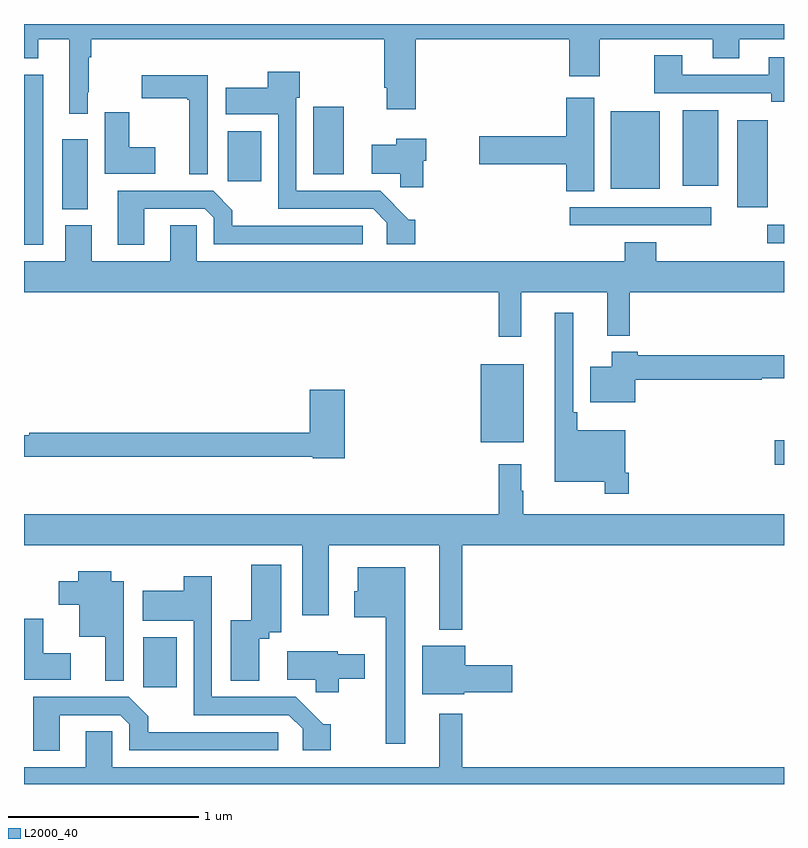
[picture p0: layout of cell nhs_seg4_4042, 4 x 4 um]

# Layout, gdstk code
import gdstk
lib = gdstk.Library(unit=1e-6, precision=1e-09)
def R(c, l, rs):  # rectangles x0, y0, x1, y1
    for r in rs: c.add(gdstk.rectangle(r[:2], r[2:], *l))
def P(c, l, *ps):  # polygons
    for p in ps: c.add(gdstk.Polygon(p, *l))
L2000_40 = (2000, 40)

nhs_seg4_4042 = lib.new_cell('nhs_seg4_4042')
R(nhs_seg4_4042, L2000_40, [(325.628,793.409,325.804,793.672), (328.95,794.579,329,794.709), (327.404,794.699,327.631,795.109), (325,795.738,325.102,796.634), (328.911,795.747,329,795.843), (327.873,795.84,328.618,795.936), (325.202,795.925,325.336,796.294), (328.754,795.935,328.915,796.393), (328.088,796.034,328.345,796.441), (328.466,796.049,328.654,796.447), (326.072,796.073,326.248,796.336), (326.522,796.108,326.683,796.465)])
P(nhs_seg4_4042, L2000_40, [(325.335,796.54),(325.34,796.54),(325.34,796.724),(325.355,796.724),(325.355,796.82),(326.897,796.82),(326.897,796.564),(326.909,796.564),(326.909,796.452),(327.062,796.452),(327.062,796.82),(327.869,796.82),(327.869,796.626),(328.029,796.626),(328.029,796.82),(328.625,796.82),(328.625,796.721),(328.765,796.721),(328.765,796.82),(329,796.82),(329,796.9),(325,796.9),(325,796.721),(325.075,796.721),(325.075,796.82),(325.238,796.82),(325.238,796.428),(325.335,796.428)],
  [(329,796.726),(328.919,796.726),(328.919,796.632),(328.465,796.632),(328.465,796.735),(328.318,796.735),(328.318,796.536),(328.934,796.536),(328.934,796.49),(329,796.49)],
  [(327.058,795.871),(327.026,795.871),(326.874,796.023),(326.433,796.023),(326.433,796.512),(326.452,796.512),(326.452,796.648),(326.284,796.648),(326.284,796.564),(326.061,796.564),(326.061,796.424),(326.337,796.424),(326.337,795.927),(326.838,795.927),(326.91,795.855),(326.91,795.741),(327.058,795.741)],
  [(325.968,796.63),(325.62,796.63),(325.62,796.508),(325.86,796.508),(325.86,796.501),(325.871,796.501),(325.871,796.108),(325.968,796.108)],
  [(328,796.513),(327.854,796.513),(327.854,796.31),(327.396,796.31),(327.396,796.163),(327.854,796.163),(327.854,796.021),(328,796.021)],
  [(325.69,796.252),(325.554,796.252),(325.554,796.435),(325.424,796.435),(325.424,796.112),(325.69,796.112)],
  [(327.1,796.179),(327.118,796.179),(327.118,796.297),(326.96,796.297),(326.96,796.264),(326.829,796.264),(326.829,796.112),(326.98,796.112),(326.98,796.04),(327.1,796.04)],
  [(325.633,795.927),(325.95,795.927),(325.998,795.879),(325.998,795.741),(326.782,795.741),(326.782,795.837),(326.097,795.837),(326.097,795.921),(325.995,796.023),(325.493,796.023),(325.493,795.738),(325.633,795.738)],
  [(327.617,795.488),(328.07,795.488),(328.07,795.26),(328.187,795.26),(328.187,795.488),(329,795.488),(329,795.652),(328.328,795.652),(328.328,795.751),(328.163,795.751),(328.163,795.652),(325.908,795.652),(325.908,795.842),(325.769,795.842),(325.769,795.652),(325.357,795.652),(325.357,795.84),(325.217,795.84),(325.217,795.652),(325,795.652),(325,795.488),(327.499,795.488),(327.499,795.255),(327.617,795.255)],
  [(328.184,794.539),(328.164,794.539),(328.164,794.761),(327.911,794.761),(327.911,794.857),(327.891,794.857),(327.891,795.379),(327.794,795.379),(327.794,794.492),(328.056,794.492),(328.056,794.427),(328.184,794.427)],
  [(328.216,795.028),(328.884,795.028),(328.884,795.036),(329,795.036),(329,795.157),(328.229,795.157),(328.229,795.175),(328.094,795.175),(328.094,795.097),(327.98,795.097),(327.98,794.909),(328.216,794.909)],
  [(326.687,794.974),(326.504,794.974),(326.504,794.75),(325.028,794.75),(325.028,794.735),(325,794.735),(325,794.622),(326.52,794.622),(326.52,794.614),(326.687,794.614)],
  [(327.307,794.156),(329,794.156),(329,794.32),(327.628,794.32),(327.628,794.444),(327.616,794.444),(327.616,794.584),(327.499,794.584),(327.499,794.32),(325,794.32),(325,794.156),(326.465,794.156),(326.465,793.788),(326.605,793.788),(326.605,794.156),(327.185,794.156),(327.185,793.712),(327.307,793.712)],
  [(326.239,793.665),(326.292,793.665),(326.292,793.7),(326.353,793.7),(326.353,794.053),(326.195,794.053),(326.195,793.761),(326.087,793.761),(326.087,793.444),(326.239,793.444)],
  [(327.007,794.041),(326.756,794.041),(326.756,793.914),(326.738,793.914),(326.738,793.778),(326.903,793.778),(326.903,793.113),(327.007,793.113)],
  [(325.524,793.966),(325.458,793.966),(325.458,794.02),(325.285,794.02),(325.285,793.966),(325.184,793.966),(325.184,793.844),(325.292,793.844),(325.292,793.676),(325.427,793.676),(325.427,793.444),(325.524,793.444)],
  [(326.614,793.214),(326.575,793.214),(326.43,793.359),(325.989,793.359),(325.989,793.993),(325.84,793.993),(325.84,793.918),(325.625,793.918),(325.625,793.76),(325.893,793.76),(325.893,793.263),(326.394,793.263),(326.466,793.191),(326.466,793.077),(326.614,793.077)],
  [(325.246,793.588),(325.102,793.588),(325.102,793.771),(325,793.771),(325,793.448),(325.246,793.448)],
  [(327.318,793.384),(327.571,793.384),(327.571,793.526),(327.322,793.526),(327.322,793.627),(327.095,793.627),(327.095,793.373),(327.318,793.373)],
  [(326.656,793.453),(326.794,793.453),(326.794,793.582),(326.652,793.582),(326.652,793.6),(326.385,793.6),(326.385,793.448),(326.535,793.448),(326.535,793.383),(326.656,793.383)],
  [(325.189,793.263),(325.506,793.263),(325.554,793.215),(325.554,793.077),(326.338,793.077),(326.338,793.173),(325.653,793.173),(325.653,793.257),(325.551,793.359),(325.049,793.359),(325.049,793.074),(325.189,793.074)],
  [(329,792.988),(327.307,792.988),(327.307,793.27),(327.185,793.27),(327.185,792.988),(325.464,792.988),(325.464,793.178),(325.325,793.178),(325.325,792.988),(325,792.988),(325,792.9),(329,792.9)])

lib.write_gds('nhs_seg4_4042.gds')
